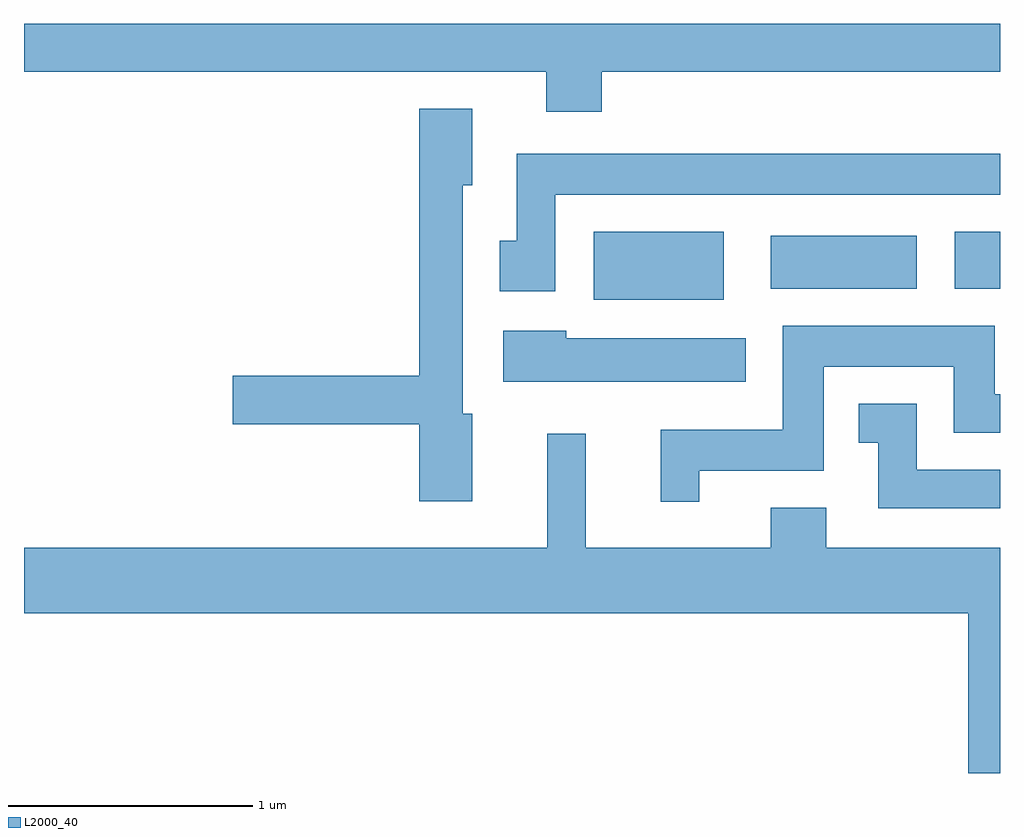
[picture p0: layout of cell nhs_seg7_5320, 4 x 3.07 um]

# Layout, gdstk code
import gdstk
lib = gdstk.Library(unit=1e-6, precision=1e-09)
def R(c, l, rs):  # rectangles x0, y0, x1, y1
    for r in rs: c.add(gdstk.rectangle(r[:2], r[2:], *l))
def P(c, l, *ps):  # polygons
    for p in ps: c.add(gdstk.Polygon(p, *l))
L2000_40 = (2000, 40)

nhs_seg7_5320 = lib.new_cell('nhs_seg7_5320')
R(nhs_seg7_5320, L2000_40, [(349.946,1751.121,350.479,1751.399), (350.671,1751.166,351.269,1751.384), (351.426,1751.166,351.611,1751.399)])
P(nhs_seg7_5320, L2000_40, [(349.979,1752.056),(351.611,1752.056),(351.611,1752.252),(347.611,1752.252),(347.611,1752.056),(349.751,1752.056),(349.751,1751.891),(349.979,1751.891)],
  [(349.449,1750.654),(349.409,1750.654),(349.409,1751.591),(349.449,1751.591),(349.449,1751.904),(349.231,1751.904),(349.231,1750.809),(348.466,1750.809),(348.466,1750.611),(349.231,1750.611),(349.231,1750.296),(349.449,1750.296)],
  [(349.789,1751.551),(351.611,1751.551),(351.611,1751.719),(349.631,1751.719),(349.631,1751.364),(349.561,1751.364),(349.561,1751.156),(349.789,1751.156)],
  [(350.379,1750.421),(350.889,1750.421),(350.889,1750.846),(351.421,1750.846),(351.421,1750.576),(351.611,1750.576),(351.611,1750.734),(351.589,1750.734),(351.589,1751.014),(350.721,1751.014),(350.721,1750.589),(350.221,1750.589),(350.221,1750.293),(350.379,1750.293)],
  [(350.569,1750.964),(349.834,1750.964),(349.834,1750.994),(349.576,1750.994),(349.576,1750.786),(350.569,1750.786)],
  [(351.611,1750.424),(351.269,1750.424),(351.269,1750.694),(351.033,1750.694),(351.033,1750.536),(351.111,1750.536),(351.111,1750.266),(351.611,1750.266)],
  [(351.611,1750.104),(350.899,1750.104),(350.899,1750.269),(350.671,1750.269),(350.671,1750.104),(349.914,1750.104),(349.914,1750.573),(349.756,1750.573),(349.756,1750.104),(347.611,1750.104),(347.611,1749.836),(351.481,1749.836),(351.481,1749.181),(351.611,1749.181)])

lib.write_gds('nhs_seg7_5320.gds')
